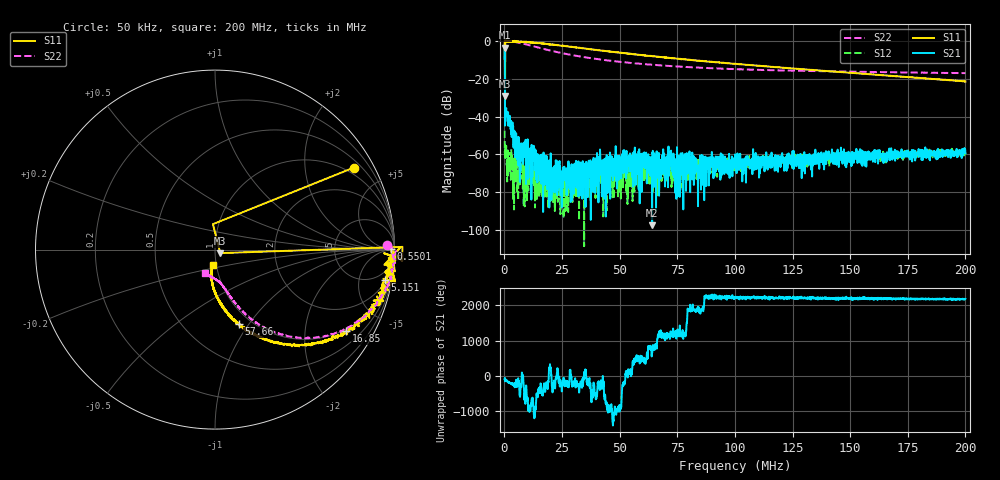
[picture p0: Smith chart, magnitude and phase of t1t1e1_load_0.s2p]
! 27-Aug-26 2:11:52 PM
! E:\20260827_VNA\T1T1E1_LOAD_0.S2P
! CHANNEL.1
! TR.MEASUREMENT
! CORRECTED.DATA
# GHZ S RI R 50.0
! FREQ.GHZ  S11RE  S11IM  S21RE  S21IM  S12RE  S12IM  S22RE  S22IM
!; PortSelection: Port_12
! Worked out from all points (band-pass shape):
!   2000 points, 50 kHz to 200 MHz, reference 50 ohm
!   highest |S21| = -3.40 dB at 150 kHz (marker M1); lowest = -97.7 dB at 64.07 MHz (marker M2)
!   |S21| within 3 dB of the highest: 99.49 kHz to 157.3 kHz (57.77 kHz wide, 45 % of centre)
!   lowest |S11| = -29.0 dB at 250 kHz (marker M3), VSWR 1.07, Z = 53 - j2.08 ohm
!   |S11| at or under -10 dB: 106.7 kHz to 314.8 kHz (208.1 kHz wide, 98.7 % of centre); 80.91697 MHz to 81.02509 MHz (108.1 kHz wide, 0.134 % of centre); 81.12 MHz to end of sweep
!   |S22| runs from -17.0 to 0.1 dB; largest |S21 - S12| = 0.68
!   S11 on the Smith chart (normalised r, x): 50 kHz: 0.74, +3.52; 550.1 kHz: open; 5.151 MHz: 2, -11; 16.85 MHz: 0.93, -3.25; 57.66 MHz: 0.87, -0.90; 200 MHz: 0.97, -0.16
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5e-05  0.774 0.457  -0.0517 -0.3375  0.00176 0.00381  0.9598 0.0281
0.000150025  -0.0115 0.1418  0.3445 -0.5821  -0.00104 0.000236  1.001 0.00144
0.00025005  0.0294 -0.0196  -0.00523 -0.00236  0.00103 0.000878  1.012 -0.0126
0.000550125  0.9804 0.00265  -0.00414 -0.00957  -0.00104 0.000322  0.9922 -0.0426
0.0012503  0.968 -0.0463  -0.0101 -0.00615  -0.000603 0.00039  0.9942 -0.0964
0.005151276  0.9452 -0.169  -0.00195 0.00086  -0.000448 0.000468  0.877 -0.3305
0.0168542  0.7295 -0.4552  0.000161 -0.000245  -3.3e-06 -6.94e-05  0.4021 -0.4812
0.02385595  0.5696 -0.5191  -0.000601 0.000271  -6.99e-05 4.75e-05  0.2578 -0.4249
0.03345835  0.3873 -0.5256  0.000143 0.000465  2.2e-06 0.000139  0.1622 -0.3509
0.04736183  0.2174 -0.4696  -0.000625 0.000272  -0.0004 0.000319  0.0971 -0.2793
0.04946236  0.1982 -0.4596  0.000184 0.000358  -2.45e-05 0.000237  0.0913 -0.271
0.05196298  0.1755 -0.4453  -0.00123 -0.000373  -0.000237 0.000147  0.0858 -0.2622
0.05766441  0.1311 -0.4151  0.000387 0.000573  6.93e-05 0.000172  0.0735 -0.244
0.06406601  0.0973 -0.387  5e-06 -1.2e-05  -0.000125 0.0001  0.062 -0.228
0.06676668  0.0896 -0.3753  4.74e-05 0.000692  2.08e-05 0.000393  0.0586 -0.2227
0.07246811  0.0664 -0.3446  -0.000889 5.12e-05  -8.78e-05 0.000103  0.0513 -0.2121
0.07516878  0.057 -0.3396  -0.000218 0.000892  -0.000123 0.000518  0.0482 -0.2071
0.07736933  0.0511 -0.3288  0.000111 0.00075  0.000351 0.000668  0.0446 -0.2045
0.100075  0.00404 -0.2509  0.000418 0.000896  4.28e-05 0.000491  0.0225 -0.18
0.1333833  -0.0182 -0.1714  0.000196 0.000728  0.000595 0.000504  -0.00409 -0.1615
0.1666917  -0.0188 -0.1196  0.000788 0.000878  0.000664 0.000595  -0.0295 -0.1471
0.2  -0.00963 -0.0844  0.000945 0.000463  0.000945 0.00027  -0.0557 -0.1305
